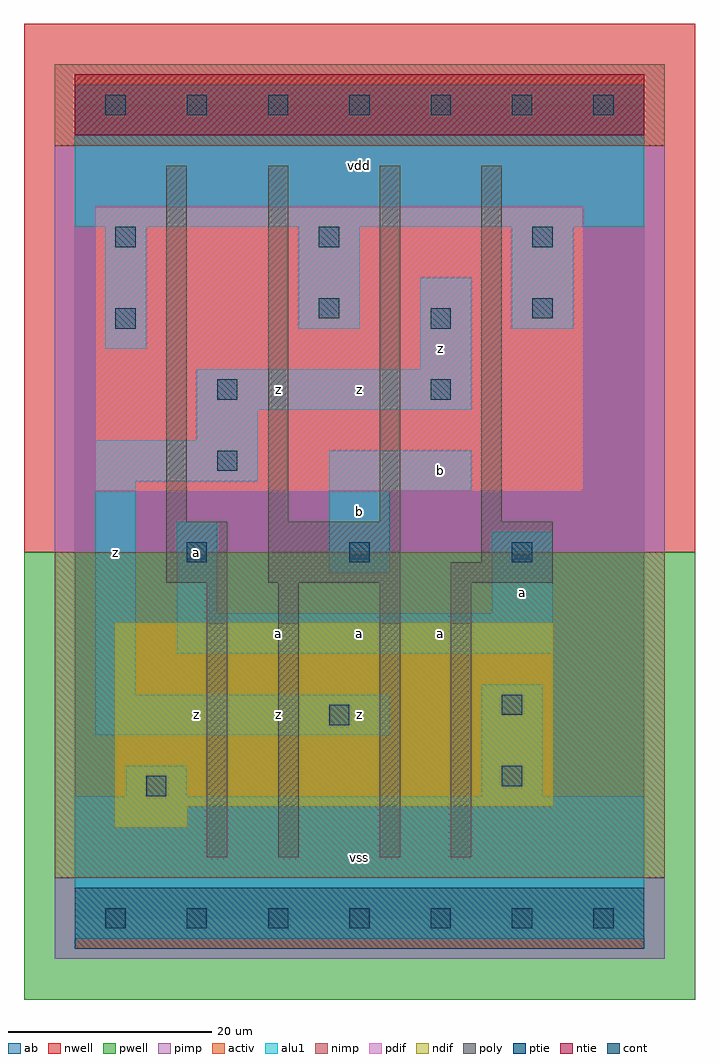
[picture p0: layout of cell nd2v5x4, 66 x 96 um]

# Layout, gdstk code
import gdstk
lib = gdstk.Library(unit=1e-6, precision=1e-09)
def R(c, l, rs):  # rectangles x0, y0, x1, y1
    for r in rs: c.add(gdstk.rectangle(r[:2], r[2:], *l))
def A(c, l, x, y, w, h, nx, ny, dx, dy):  # array of equal rectangles
    R(c, l, [(x+i*dx, y+j*dy, x+i*dx+w, y+j*dy+h) for i in range(nx) for j in range(ny)])
ndif = (3, 0)
pdif = (4, 0)
ntie = (5, 0)
ptie = (6, 0)
cont = (25, 0)
pwell = (41, 0)
nwell = (42, 0)
activ = (43, 0)
pimp = (44, 0)
nimp = (45, 0)
poly = (46, 0)
alu1 = (49, 0)
ab = (63, 0)

nd2v5x4 = lib.new_cell('nd2v5x4')
R(nd2v5x4, ndif, [(4,9,11,11), (4,11,47,29)])
R(nd2v5x4, pdif, [(2,42,50,70)])
R(nd2v5x4, ntie, [(0,77,56,83)])
R(nd2v5x4, ptie, [(0,-3,56,3)])
A(nd2v5x4, cont, 3, -1, 2, 2, 7, 2, 8, 80)
A(nd2v5x4, cont, 11, 35, 2, 2, 3, 1, 16, 0)
R(nd2v5x4, cont, [(7,12,9,14), (42,13,44,15), (25,19,27,21), (42,20,44,22), (14,44,16,46), (14,51,16,53), (35,51,37,53), (4,58,6,60), (35,58,37,60), (24,59,26,61), (45,59,47,61), (4,66,6,68), (24,66,26,68), (45,66,47,68)])
R(nd2v5x4, pwell, [(-5,-8,61,36)])
R(nd2v5x4, nwell, [(-5,36,61,88)])
R(nd2v5x4, activ, [(0,-3,56,3), (4,9,11,11), (4,11,47,29), (2,42,50,70), (0,77,56,83)])
R(nd2v5x4, pimp, [(-2,-4,58,4), (-2,36,58,76)])
R(nd2v5x4, nimp, [(-2,4,58,36), (-2,76,58,84)])
R(nd2v5x4, poly, [(13,6,15,33), (20,6,22,33), (30,6,32,33), (37,6,39,33), (9,33,15,39), (19,33,32,39), (37,33,47,35), (40,35,47,39), (9,39,11,74), (19,39,21,74), (30,39,32,74), (40,39,42,74)])
R(nd2v5x4, alu1, [(0,-2,56,12), (5,12,11,15), (40,12,46,23), (2,18,31,22), (2,22,6,43), (10,26,47,30), (10,30,14,39), (41,30,47,38), (25,34,31,42), (25,42,39,46), (2,43,18,47), (12,47,18,50), (12,50,39,54), (34,54,39,63), (3,56,7,68), (22,58,28,68), (43,58,49,68), (0,68,56,82)])
R(nd2v5x4, ab, [(0,0,56,80)])
nd2v5x4.add(gdstk.Label('z', (4,36), layer=49, texttype=0))
nd2v5x4.add(gdstk.Label('z', (20,20), layer=49, texttype=0))
nd2v5x4.add(gdstk.Label('z', (12,20), layer=49, texttype=0))
nd2v5x4.add(gdstk.Label('a', (12,36), layer=49, texttype=0))
nd2v5x4.add(gdstk.Label('a', (20,28), layer=49, texttype=0))
nd2v5x4.add(gdstk.Label('z', (20,52), layer=49, texttype=0))
nd2v5x4.add(gdstk.Label('vss', (28,6), layer=49, texttype=0))
nd2v5x4.add(gdstk.Label('z', (28,20), layer=49, texttype=0))
nd2v5x4.add(gdstk.Label('a', (28,28), layer=49, texttype=0))
nd2v5x4.add(gdstk.Label('a', (36,28), layer=49, texttype=0))
nd2v5x4.add(gdstk.Label('b', (36,44), layer=49, texttype=0))
nd2v5x4.add(gdstk.Label('b', (28,40), layer=49, texttype=0))
nd2v5x4.add(gdstk.Label('z', (28,52), layer=49, texttype=0))
nd2v5x4.add(gdstk.Label('z', (36,56), layer=49, texttype=0))
nd2v5x4.add(gdstk.Label('vdd', (28,74), layer=49, texttype=0))
nd2v5x4.add(gdstk.Label('a', (44,32), layer=49, texttype=0))

lib.write_gds('nd2v5x4.gds')
